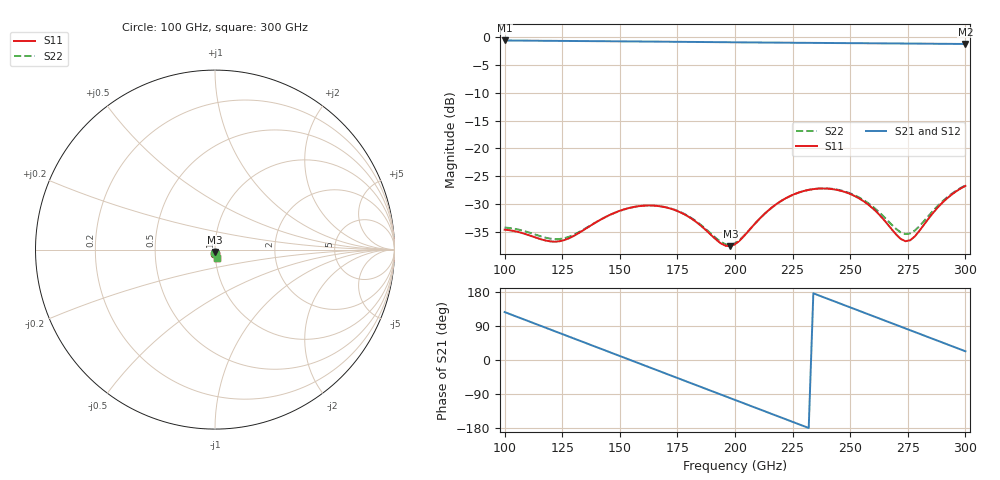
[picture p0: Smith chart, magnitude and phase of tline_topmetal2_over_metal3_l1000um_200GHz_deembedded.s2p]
! Created with skrf 2.2.0 (http://scikit-rf.org).
# GHz S DB R 50.0
! Port[1] = P1
! Port[2] = P2
!freq dBS11 angS11 dBS21 angS21 dBS12 angS12 dBS22 angS22
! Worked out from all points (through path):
!   101 points, 100 GHz to 300 GHz, reference 50 ohm
!   highest |S21| = -0.68 dB at 100 GHz (marker M1); lowest = -1.3 dB at 300 GHz (marker M2)
!   group delay of S21, straight-line fit = 6.44 ps
!   lowest |S11| = -37.5 dB at 198 GHz (marker M3), VSWR 1.03, Z = 50 - j1.34 ohm
!   |S11| at or under -10 dB: start of sweep to end of sweep
!   |S22| runs from -37.2 to -26.6 dB; largest |S21 - S12| = 1e-13
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100  -34.52 -94.9  -0.68 126.5  -0.68 126.5  -34.14 -92.6
108  -35.17 -99.1  -0.70 107.9  -0.70 107.9  -34.71 -97.4
116  -36.26 -96.6  -0.73 89.4  -0.73 89.4  -35.75 -96.2
124  -36.58 -85.6  -0.76 70.8  -0.76 70.8  -36.18 -86.8
134  -34.66 -74.4  -0.79 47.7  -0.79 47.7  -34.55 -75.7
144  -32.21 -76.6  -0.82 24.5  -0.82 24.5  -32.22 -76.9
152  -30.87 -84.3  -0.84 5.9  -0.84 5.9  -30.89 -84.0
160  -30.24 -94.4  -0.87 -12.7  -0.87 -12.7  -30.25 -93.7
168  -30.37 -105.0  -0.89 -31.2  -0.89 -31.2  -30.35 -104.0
184  -33.41 -119.6  -0.95 -68.3  -0.95 -68.3  -33.28 -118.0
198  -37.47 -90.2  -1.00 -100.8  -1.00 -100.8  -37.23 -90.1
200  -37.14 -82.1  -1.01 -105.4  -1.01 -105.4  -36.95 -82.3
208  -33.75 -64.6  -1.03 -123.9  -1.03 -123.9  -33.73 -64.3
218  -29.93 -68.2  -1.07 -147.1  -1.07 -147.1  -29.96 -67.2
226  -28.13 -78.5  -1.09 -165.6  -1.09 -165.6  -28.14 -76.9
234  -27.26 -90.9  -1.11 175.9  -1.11 175.9  -27.25 -88.8
250  -28.13 -115.6  -1.16 138.9  -1.16 138.9  -28.02 -112.3
260  -30.79 -125.7  -1.19 115.7  -1.19 115.7  -30.47 -121.3
268  -34.44 -120.8  -1.21 97.2  -1.21 97.2  -33.63 -115.9
276  -36.42 -86.2  -1.23 78.6  -1.23 78.6  -35.19 -87.0
288  -30.55 -61.3  -1.27 50.8  -1.27 50.8  -30.27 -63.7
300  -26.69 -73.1  -1.31 23.0  -1.31 23.0  -26.60 -73.7
